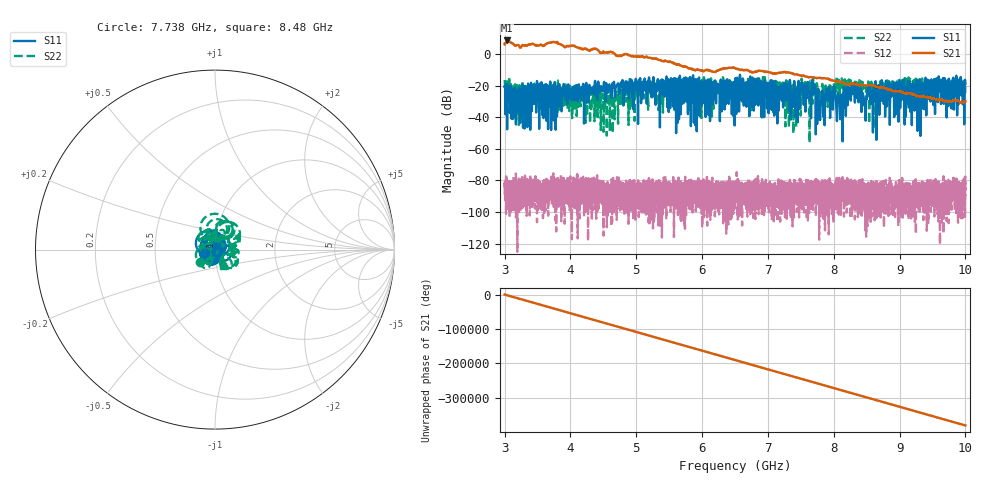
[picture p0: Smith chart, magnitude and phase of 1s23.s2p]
!Agilent Technologies,E8363B,MY43030572,A.06.04.32
!Agilent E8363B: A.06.04.32
!Date: Monday, June 06, 2011 14:30:30
!Correction: S11(Full 2 Port(1,2)) S21(Full 2 Port(1,2)) S12(Full 2 Port(1,2)) S22(Full 2 Port(1,2))
!S2P File: Measurements: S11, S21, S12, S22:
# Hz S  dB  R 50
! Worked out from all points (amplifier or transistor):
!   6401 points, 3 GHz to 10 GHz, reference 50 ohm
!   highest |S21| = 8.5 dB at 3.039 GHz (marker M1)
!   |S21| within 3 dB of that: 3.609 GHz to 3.871 GHz (262.1 MHz wide, 7.01 % of centre)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
!   unconditionally stable (mu >= 1): start of sweep to end of sweep
!   at 4.166 GHz: K = 12267.20, MAG = 3.4 dB, |S12| = -91.2 dB
!   at 6.5 GHz: K = 36661.50, MAG = -8.9 dB, |S12| = -88.5 dB
!   at 10 GHz: K = 474319.60, MAG = -29.6 dB, |S12| = -90.0 dB
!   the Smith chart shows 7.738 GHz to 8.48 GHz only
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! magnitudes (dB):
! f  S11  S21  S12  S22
! 3 GHz  -20.8  6.4  -84.2  -16.5
! 3.039 GHz  -34.7  8.5  -91.4  -19.7
! 3.224 GHz  -21.3  4.8  -91.8  -20.2
! 3.419 GHz  -23.7  6.4  -89.6  -21.7
! 4.167 GHz  -22.5  3.3  -85.4  -24.3
! 4.284 GHz  -20.2  2.0  -79.1  -24.1
! 4.354 GHz  -21.8  3.3  -78.2  -20.9
! 4.648 GHz  -21.3  0.8  -84.7  -29.2
! 5.131 GHz  -16.2  -2.1  -80.2  -19.4
! 5.334 GHz  -19.3  -3.8  -98.7  -30.3
! 6.5 GHz  -19.1  -9.0  -88.5  -21.8
! 7.052 GHz  -22.8  -12.1  -87.0  -18.2
! 7.352 GHz  -29.1  -12.0  -83.3  -20.8
! 7.667 GHz  -17.7  -14.8  -80.9  -18.7
! 7.761 GHz  -22.2  -15.2  -83.5  -20.9
! 7.904 GHz  -26.8  -15.7  -87.5  -28.1
! 8.108 GHz  -26.4  -17.7  -79.8  -21.3
! 8.275 GHz  -22.7  -18.5  -90.9  -19.5
! 8.455 GHz  -27.2  -19.8  -91.6  -21.4
! 8.543 GHz  -20.0  -19.8  -88.4  -23.3
! 8.834 GHz  -19.4  -22.3  -85.5  -20.6
! 10 GHz  -19.0  -29.7  -90.0  -19.4
